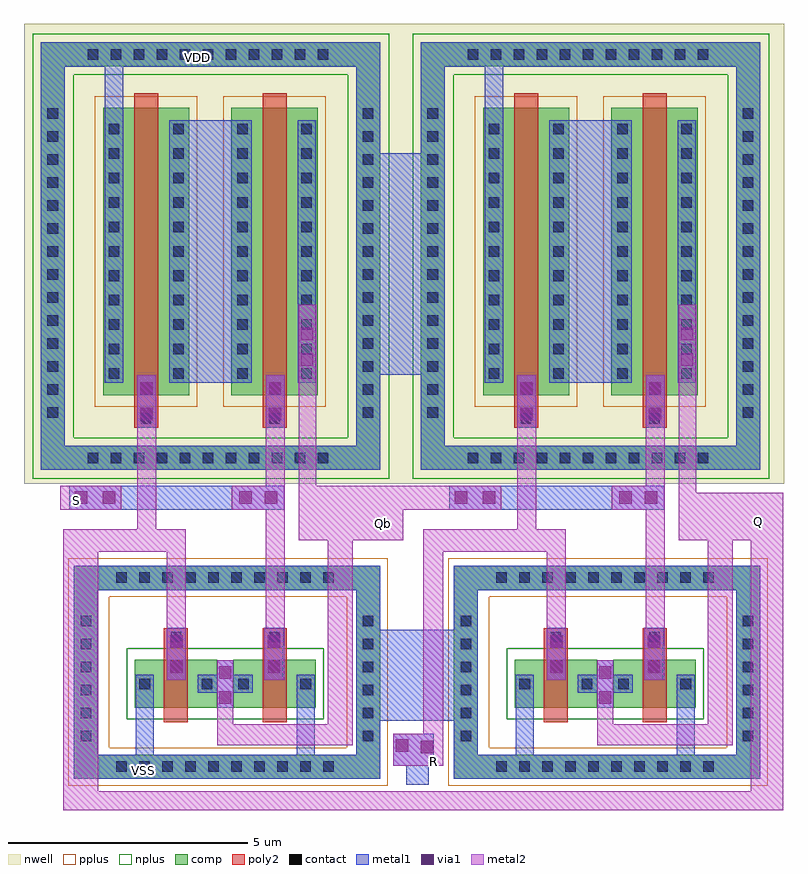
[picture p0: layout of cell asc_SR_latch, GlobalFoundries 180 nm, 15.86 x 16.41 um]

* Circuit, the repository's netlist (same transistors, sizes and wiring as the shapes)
** sch_path: /foss/designs/libs/core_analog/asc_SR_latch/asc_SR_latch.sch
.subckt asc_SR_latch R S Qb VDD VSS Q
*.PININFO VDD:B VSS:B S:B R:B Qb:B Q:B
x1 VDD VSS Q R Qb asc_NOR
x2 VDD VSS Qb Q S asc_NOR
.ends

* expanding   symbol:  libs/core_analog/asc_NOR/asc_NOR.sym # of pins=5
** sym_path: /foss/designs/libs/core_analog/asc_NOR/asc_NOR.sym
** sch_path: /foss/designs/libs/core_analog/asc_NOR/asc_NOR.sch
.subckt asc_NOR VDD VSS OUT A B
*.PININFO VDD:B VSS:B B:B A:B OUT:B
M1 OUT A VSS VSS nfet_03v3 L=0.5u W=1u nf=1 m=1
M2 OUT B VSS VSS nfet_03v3 L=0.5u W=1u nf=1 m=1
M3 OUT B net1 VDD pfet_03v3 L=0.5u W=6u nf=2 m=1
M4 net1 A VDD VDD pfet_03v3 L=0.5u W=6u nf=2 m=1
.ends

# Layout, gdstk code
from math import pi, radians
import gdstk
lib = gdstk.Library(unit=1e-6, precision=5e-09)
def R(c, l, rs):  # rectangles x0, y0, x1, y1
    for r in rs: c.add(gdstk.rectangle(r[:2], r[2:], *l))
def A(c, l, x, y, w, h, nx, ny, dx, dy):  # array of equal rectangles
    R(c, l, [(x+i*dx, y+j*dy, x+i*dx+w, y+j*dy+h) for i in range(nx) for j in range(ny)])
def P(c, l, *ps):  # polygons
    for p in ps: c.add(gdstk.Polygon(p, *l))
nwell = (21, 0)
comp = (22, 0)
poly2 = (30, 0)
pplus = (31, 0)
nplus = (32, 0)
contact = (33, 0)
metal1 = (34, 0)
via1 = (35, 0)
metal2 = (36, 0)

via_dev = lib.new_cell('via_dev')
R(via_dev, comp, [(0,0,0.5,7)])
A(via_dev, contact, 0.14, 0.27, 0.22, 0.22, 1, 14, 0, 0.48)
R(via_dev, metal1, [(0,0,0.5,7)])

nfet = lib.new_cell('nfet')
R(nfet, comp, [(-0.42,0,0,1), (0,0,0.88,1), (0.88,0,1.3,1)])
R(nfet, poly2, [(0.19,-0.3,0.69,1.3), (0.19,1.3,0.69,1.66)])
R(nfet, nplus, [(-0.59,-0.24,1.47,1.24)])
R(nfet, contact, [(-0.32,0.39,-0.1,0.61), (0.98,0.39,1.2,0.61), (0.33,1.37,0.55,1.59)])
R(nfet, metal1, [(-0.4,0.31,-0.02,0.69), (0.9,0.31,1.28,0.69), (0.25,1.29,0.63,1.67)])

via_dev_1 = lib.new_cell('via_dev$1')
R(via_dev_1, comp, [(0,0,0.5,3)])
A(via_dev_1, contact, 0.14, 0.19, 0.22, 0.22, 1, 6, 0, 0.48)
R(via_dev_1, metal1, [(0,0,0.5,3)])

via_dev_2 = lib.new_cell('via_dev$2')
R(via_dev_2, comp, [(0,0,0.5,5.5)])
A(via_dev_2, contact, 0.14, 0.24, 0.22, 0.22, 1, 11, 0, 0.48)
R(via_dev_2, metal1, [(0,0,0.5,5.5)])

via_dev_3 = lib.new_cell('via_dev$3')
R(via_dev_3, comp, [(0,0,0.5,5)])
A(via_dev_3, contact, 0.14, 0.23, 0.22, 0.22, 1, 10, 0, 0.48)
R(via_dev_3, metal1, [(0,0,0.5,5)])

pfet = lib.new_cell('pfet')
R(pfet, nwell, [(-0.9,-0.44,1.78,6.44)])
R(pfet, comp, [(-0.46,0,0,6), (0,0,0.88,6), (0.88,0,1.34,6)])
R(pfet, poly2, [(0.19,-0.68,0.69,-0.3), (0.19,-0.3,0.69,6.3)])
R(pfet, pplus, [(-0.63,-0.24,1.51,6.24)])
A(pfet, contact, -0.34, 0.34, 0.22, 0.22, 1, 11, 0, 0.51)
A(pfet, contact, 1, 0.34, 0.22, 0.22, 1, 11, 0, 0.51)
R(pfet, contact, [(0.33,-0.6,0.55,-0.38)])
R(pfet, metal1, [(0.25,-0.68,0.63,-0.3), (-0.42,0.26,-0.04,5.74), (0.92,0.26,1.3,5.74)])

asc_sr_latch = lib.new_cell('asc_SR_latch')
R(asc_sr_latch, nwell, [(42.895,-18.3,50.825,-8.7), (50.825,-18.3,58.755,-8.7)])
R(asc_sr_latch, comp, [(43.935,-24.455,44.435,-23.865), (44.435,-24.455,44.585,-23.955), (49.585,-24.455,49.825,-23.955), (49.825,-24.455,50.325,-23.865), (51.865,-24.455,52.365,-23.865), (52.365,-24.455,52.515,-23.955), (57.515,-24.455,57.755,-23.955), (57.755,-24.455,58.255,-23.865), (43.935,-20.87,44.435,-20.51), (49.825,-20.87,50.325,-20.01), (51.865,-20.87,52.365,-20.51), (57.755,-20.87,58.255,-20.01), (43.935,-20.51,44.585,-20.01), (49.585,-20.51,50.325,-20.01), (51.865,-20.51,52.515,-20.01), (57.515,-20.51,58.255,-20.01), (43.245,-18.01,43.745,-17.15), (43.245,-18.01,43.745,-9.09), (43.245,-18.01,43.985,-17.51), (49.485,-18.01,49.825,-17.51), (49.825,-18.01,50.325,-9.09), (51.175,-18.01,51.675,-17.15), (51.175,-18.01,51.675,-9.09), (51.175,-18.01,51.915,-17.51), (57.415,-18.01,57.755,-17.51), (57.755,-18.01,58.255,-9.09), (49.825,-9.95,50.325,-9.09), (57.755,-9.95,58.255,-9.09), (43.745,-9.59,43.985,-9.09), (49.485,-9.59,50.325,-9.09), (51.675,-9.59,51.915,-9.09), (57.415,-9.59,58.255,-9.09)])
R(asc_sr_latch, pplus, [(43.815,-24.605,44.67,-19.86), (49.635,-24.605,50.49,-19.86), (51.745,-24.605,52.6,-19.86), (57.565,-24.605,58.42,-19.86)])
P(asc_sr_latch, nplus, [(43.075,-18.2),(43.075,-8.91),(43.935,-8.91),(43.935,-18.2),(43.795,-18.2)],
  [(49.655,-18.2),(49.655,-8.91),(50.515,-8.91),(50.515,-18.2),(50.375,-18.2)],
  [(43.075,-18.2),(43.075,-17.34),(50.515,-17.34),(50.515,-17.61),(50.515,-18.2)],
  [(43.075,-9.77),(43.075,-8.91),(50.515,-8.91),(50.515,-9.18),(50.515,-9.77)],
  [(51.005,-18.2),(51.005,-8.91),(51.865,-8.91),(51.865,-18.2),(51.725,-18.2)],
  [(57.585,-18.2),(57.585,-8.91),(58.445,-8.91),(58.445,-18.2),(58.305,-18.2)],
  [(51.005,-18.2),(51.005,-17.34),(58.445,-17.34),(58.445,-17.61),(58.445,-18.2)],
  [(51.005,-9.77),(51.005,-8.91),(58.445,-8.91),(58.445,-9.18),(58.445,-9.77)])
R(asc_sr_latch, metal1, [(50.875,-24.58,51.34,-23.69), (43.935,-24.455,44.435,-23.865), (43.935,-24.455,44.585,-23.955), (43.935,-24.455,50.325,-23.955), (45.225,-24.455,45.605,-22.285), (48.585,-24.455,48.965,-22.285), (49.585,-24.455,50.325,-23.955), (51.865,-24.455,52.365,-23.865), (51.865,-24.455,52.515,-23.955), (51.865,-24.455,58.255,-23.955), (53.155,-24.455,53.535,-22.285), (56.515,-24.455,56.895,-22.285), (57.515,-24.455,58.255,-23.955), (49.825,-24.445,50.325,-23.865), (57.755,-24.445,58.255,-23.865), (50.605,-24.19,51.45,-23.52), (49.825,-23.25,52.365,-21.345), (46.925,-22.975,47.265,-21.98), (54.855,-22.975,55.195,-21.98), (46.525,-22.665,47.665,-22.285), (54.455,-22.665,55.595,-22.285), (45.875,-22.405,46.275,-21.305), (47.91,-22.405,48.31,-21.305), (53.805,-22.405,54.205,-21.305), (55.84,-22.405,56.24,-21.305), (43.935,-21.28,44.435,-20.01), (51.865,-21.28,52.365,-20.01), (49.825,-21.175,50.325,-20.015), (57.755,-21.175,58.255,-20.015), (43.935,-20.52,50.325,-20.01), (51.865,-20.52,58.255,-20.01), (49.535,-20.51,50.325,-20.01), (57.465,-20.51,58.255,-20.01), (47.23,-18.84,48.33,-18.34), (55.16,-18.84,56.26,-18.34), (43.245,-18.01,43.985,-17.51), (49.485,-18.01,50.325,-17.51), (49.825,-18.01,50.325,-9.09), (51.175,-18.01,51.915,-17.51), (57.415,-18.01,58.255,-17.51), (57.755,-18.01,58.255,-9.09), (43.245,-18,43.745,-17.15), (51.175,-18,51.675,-17.15), (45.255,-17.13,45.655,-16.03), (47.935,-17.13,48.335,-16.03), (53.185,-17.13,53.585,-16.03), (55.865,-17.13,56.265,-16.03), (44.585,-16.19,44.965,-9.09), (45.925,-16.19,47.645,-10.71), (52.515,-16.19,52.895,-9.09), (53.855,-16.19,55.575,-10.71), (49.825,-16.03,51.675,-11.405), (43.245,-11.165,43.745,-9.1), (51.175,-11.165,51.675,-9.1), (43.245,-9.6,50.325,-9.09), (51.175,-9.6,58.255,-9.09), (43.245,-9.59,43.985,-9.09), (49.485,-9.59,50.325,-9.09), (51.175,-9.59,51.915,-9.09), (57.415,-9.59,58.255,-9.09)])
P(asc_sr_latch, metal1, [(43.84,-18.84),(43.84,-18.55),(43.84,-18.34),(48.33,-18.34),(48.33,-18.84)],
  [(51.77,-18.84),(51.77,-18.55),(51.77,-18.34),(56.26,-18.34),(56.26,-18.84)])
R(asc_sr_latch, via1, [(51.175,-23.92,51.435,-23.66), (50.65,-23.895,50.91,-23.635), (46.965,-22.895,47.225,-22.635), (54.895,-22.895,55.155,-22.635), (46.965,-22.365,47.225,-22.105), (54.895,-22.365,55.155,-22.105), (45.945,-22.25,46.205,-21.99), (47.98,-22.25,48.24,-21.99), (53.875,-22.25,54.135,-21.99), (55.91,-22.25,56.17,-21.99), (45.945,-21.72,46.205,-21.46), (47.98,-21.72,48.24,-21.46), (53.875,-21.72,54.135,-21.46), (55.91,-21.72,56.17,-21.46), (43.95,-18.72,44.21,-18.46), (44.54,-18.72,44.8,-18.46), (47.385,-18.72,47.645,-18.46), (47.915,-18.72,48.175,-18.46), (51.88,-18.72,52.14,-18.46), (52.47,-18.72,52.73,-18.46), (55.315,-18.72,55.575,-18.46), (55.845,-18.72,56.105,-18.46), (45.325,-16.975,45.585,-16.715), (48.005,-16.975,48.265,-16.715), (53.255,-16.975,53.515,-16.715), (55.935,-16.975,56.195,-16.715), (45.325,-16.445,45.585,-16.185), (48.005,-16.445,48.265,-16.185), (53.255,-16.445,53.515,-16.185), (55.935,-16.445,56.195,-16.185), (48.675,-15.835,48.935,-15.575), (56.605,-15.835,56.865,-15.575), (48.675,-15.305,48.935,-15.045), (56.605,-15.305,56.865,-15.045)])
R(asc_sr_latch, metal2, [(43.71,-25.115,58.735,-24.715), (43.71,-25.115,44.44,-19.255), (58.06,-25.115,58.735,-18.49), (50.605,-24.19,51.64,-23.52), (51.225,-24.19,51.64,-19.255), (46.925,-23.76,47.265,-21.98), (46.925,-23.76,49.76,-23.32), (49.23,-23.76,49.76,-18.49), (54.855,-23.76,55.195,-21.98), (54.855,-23.76,57.69,-23.32), (57.16,-23.76,57.69,-18.49), (45.875,-22.405,46.275,-21.305), (47.91,-22.405,48.335,-21.305), (53.805,-22.405,54.205,-21.305), (55.84,-22.405,56.265,-21.305), (45.875,-21.855,46.275,-19.255), (53.805,-21.855,54.205,-19.255), (47.935,-21.835,48.335,-16.5), (55.865,-21.835,56.265,-16.5), (43.71,-19.72,46.275,-19.255), (45.255,-19.72,45.655,-16.57), (51.64,-19.72,54.205,-19.255), (53.185,-19.72,53.585,-16.57), (48.63,-19.475,48.99,-14.57), (48.63,-19.475,50.805,-18.49), (56.56,-19.475,56.92,-14.57), (56.56,-19.475,58.735,-18.49), (43.655,-18.84,44.92,-18.34), (47.23,-18.84,48.33,-18.34), (48.63,-18.84,51.585,-18.34), (51.585,-18.84,52.85,-18.34), (55.16,-18.84,56.26,-18.34), (45.255,-17.13,45.655,-16.03), (47.935,-17.13,48.335,-16.03), (53.185,-17.13,53.585,-16.03), (55.865,-17.13,56.265,-16.03)])
asc_sr_latch.add(gdstk.FlexPath([(50.485,-20.26),(43.815,-20.26)], 0.8, ends="flush", simple_path=True, layer=31, datatype=0))  # pplus
asc_sr_latch.add(gdstk.FlexPath([(50.485,-24.205),(43.815,-24.205)], 0.8, ends="flush", simple_path=True, layer=31, datatype=0))  # pplus
asc_sr_latch.add(gdstk.FlexPath([(58.415,-20.26),(51.745,-20.26)], 0.8, ends="flush", simple_path=True, layer=31, datatype=0))  # pplus
asc_sr_latch.add(gdstk.FlexPath([(58.415,-24.205),(51.745,-24.205)], 0.8, ends="flush", simple_path=True, layer=31, datatype=0))  # pplus
asc_sr_latch.add(gdstk.Reference(via_dev, (57.755,-10.195), x_reflection=True))
asc_sr_latch.add(gdstk.Reference(via_dev, (49.825,-10.195), x_reflection=True))
asc_sr_latch.add(gdstk.Reference(nfet, (46.505,-22.975), rotation=pi, x_reflection=True))
asc_sr_latch.add(gdstk.Reference(nfet, (48.565,-22.975), rotation=pi, x_reflection=True))
asc_sr_latch.add(gdstk.Reference(via_dev_1, (50.325,-23.865), rotation=pi, x_reflection=True))
asc_sr_latch.add(gdstk.Reference(via_dev_2, (43.985,-9.59), rotation=pi/2, x_reflection=True))
asc_sr_latch.add(gdstk.Reference(via_dev_2, (43.985,-18.01), rotation=pi/2, x_reflection=True))
asc_sr_latch.add(gdstk.Reference(via_dev_1, (44.435,-23.865), rotation=pi, x_reflection=True))
asc_sr_latch.add(gdstk.Reference(via_dev_3, (44.585,-24.455), rotation=pi/2, x_reflection=True))
asc_sr_latch.add(gdstk.Reference(pfet, (48.565,-16.45), rotation=pi, x_reflection=True))
asc_sr_latch.add(gdstk.Reference(pfet, (45.885,-16.45), rotation=pi, x_reflection=True))
asc_sr_latch.add(gdstk.Reference(via_dev, (43.245,-10.195), x_reflection=True))
asc_sr_latch.add(gdstk.Reference(via_dev_3, (44.585,-20.51), rotation=pi/2, x_reflection=True))
asc_sr_latch.add(gdstk.Reference(nfet, (54.435,-22.975), rotation=pi, x_reflection=True))
asc_sr_latch.add(gdstk.Reference(nfet, (56.495,-22.975), rotation=pi, x_reflection=True))
asc_sr_latch.add(gdstk.Reference(via_dev_1, (58.255,-23.865), rotation=pi, x_reflection=True))
asc_sr_latch.add(gdstk.Reference(via_dev_2, (51.915,-9.59), rotation=pi/2, x_reflection=True))
asc_sr_latch.add(gdstk.Reference(via_dev_2, (51.915,-18.01), rotation=pi/2, x_reflection=True))
asc_sr_latch.add(gdstk.Reference(via_dev_1, (52.365,-23.865), rotation=pi, x_reflection=True))
asc_sr_latch.add(gdstk.Reference(via_dev_3, (52.515,-24.455), rotation=pi/2, x_reflection=True))
asc_sr_latch.add(gdstk.Reference(pfet, (56.495,-16.45), rotation=pi, x_reflection=True))
asc_sr_latch.add(gdstk.Reference(pfet, (53.815,-16.45), rotation=pi, x_reflection=True))
asc_sr_latch.add(gdstk.Reference(via_dev, (51.175,-10.195), x_reflection=True))
asc_sr_latch.add(gdstk.Reference(via_dev_3, (52.515,-20.51), rotation=pi/2, x_reflection=True))
asc_sr_latch.add(gdstk.Label('VSS', (45.385,-24.275), layer=34, texttype=10))
asc_sr_latch.add(gdstk.Label('VDD', (46.525,-9.4), layer=34, texttype=10))
asc_sr_latch.add(gdstk.Label('S', (43.995,-18.64), layer=36, texttype=10))
asc_sr_latch.add(gdstk.Label('R', (51.445,-24.09), layer=36, texttype=10))
asc_sr_latch.add(gdstk.Label('Qb', (50.395,-19.125), layer=36, texttype=10))
asc_sr_latch.add(gdstk.Label('Q', (58.225,-19.08), layer=36, texttype=10))

lib.write_gds('asc_SR_latch.gds')
